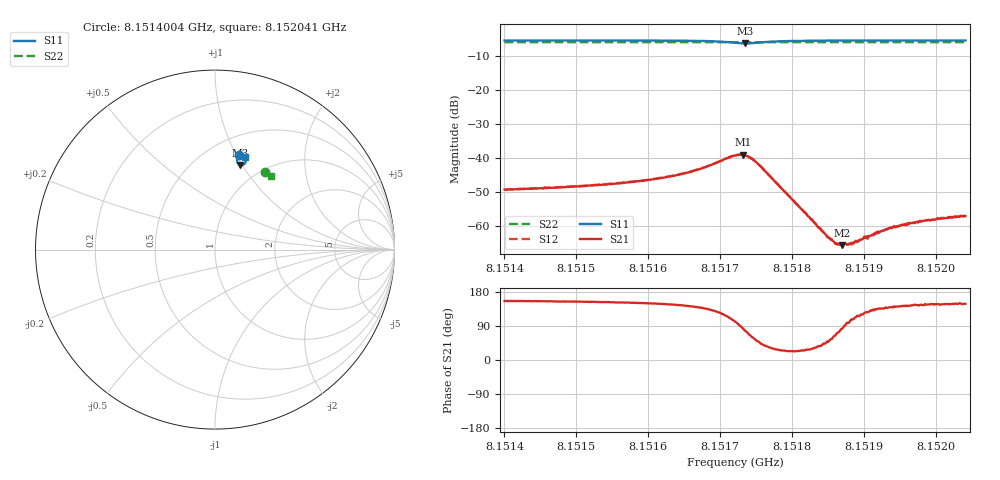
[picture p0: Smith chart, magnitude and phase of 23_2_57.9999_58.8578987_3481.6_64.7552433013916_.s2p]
#  HZ  S  RI  R  50.00
! Rohde & Schwarz Vector Network Analyzer
! Rohde-Schwarz,ZNB20-2Port,1311601062101988,3.16
! Created: UTC 3/21/2024, 12:51:16 AM
! freq[Hz]  re:S11  im:S11  re:S21  im:S21  re:S12  im:S12  re:S22  im:S22
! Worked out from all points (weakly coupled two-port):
!   401 points, 8.1514004 GHz to 8.152041 GHz, reference 50 ohm
!   highest |S21| = -38.99 dB at 8.1517319 GHz (marker M1); lowest = -65.8 dB at 8.1518697 GHz (marker M2)
!   lowest |S11| = -6.2 dB at 8.1517351 GHz (marker M3), VSWR 2.94, Z = 39.4 + j49.1 ohm
!   |S11| at or under -10 dB: nowhere
!   |S22| runs from -5.8 to -5.8 dB; largest |S21 - S12| = 0.00025
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8.15140038e9  0.1355 0.5267  -0.00312 0.0014  -0.00312 0.00143  0.2766 0.4332
8.15150769e9  0.1449 0.524  -0.00344 0.00167  -0.00346 0.00176  0.2825 0.4294
8.15156375e9  0.1507 0.5219  -0.00379 0.00204  -0.00377 0.0021  0.2855 0.4272
8.151615e9  0.1572 0.5189  -0.00425 0.00263  -0.00428 0.0027  0.2883 0.4252
8.15163903e9  0.161 0.5161  -0.00459 0.00318  -0.00457 0.00324  0.2896 0.4242
8.15166786e9  0.1665 0.5105  -0.00507 0.00432  -0.00504 0.00442  0.2912 0.4228
8.15172071e9  0.1624 0.476  -0.0022 0.0107  -0.00211 0.0108  0.293 0.4198
8.15173192e9  0.1462 0.4708  0.00145 0.0111  0.00157 0.0111  0.293 0.4193
8.15173513e9  0.1409 0.4716  0.00252 0.0105  0.00261 0.0106  0.2931 0.4195
8.15174474e9  0.128 0.48  0.00488 0.00836  0.00488 0.00842  0.2932 0.4197
8.15175755e9  0.1229 0.4956  0.00536 0.00486  0.00556 0.00491  0.2938 0.4197
8.15182802e9  0.1438 0.5198  0.00108 0.000604  0.00103 0.000604  0.2986 0.4177
8.15185205e9  0.1485 0.5202  0.00041 0.000517  0.000433 0.000485  0.2999 0.4168
8.15186006e9  0.1498 0.5204  0.000234 0.000489  0.000254 0.000495  0.3003 0.4165
8.15186646e9  0.151 0.5202  0.000122 0.00051  0.000133 0.000527  0.3007 0.4163
8.15186967e9  0.1514 0.5202  6.81e-05 0.000511  8.41e-05 0.000532  0.3008 0.4161
8.15188408e9  0.1535 0.5202  -0.000166 0.000536  -0.000117 0.000519  0.3016 0.4154
8.15191932e9  0.1578 0.5198  -0.000574 0.000585  -0.000538 0.000607  0.3035 0.4141
8.15193534e9  0.1594 0.5195  -0.000692 0.000597  -0.00069 0.000606  0.3043 0.4134
8.15195776e9  0.1616 0.5191  -0.000825 0.000643  -0.000834 0.000654  0.3056 0.4126
8.15198659e9  0.1644 0.5186  -0.000992 0.000664  -0.000978 0.000713  0.3071 0.4114
8.15204105e9  0.1692 0.5173  -0.00118 0.000727  -0.00119 0.000777  0.3098 0.4092
